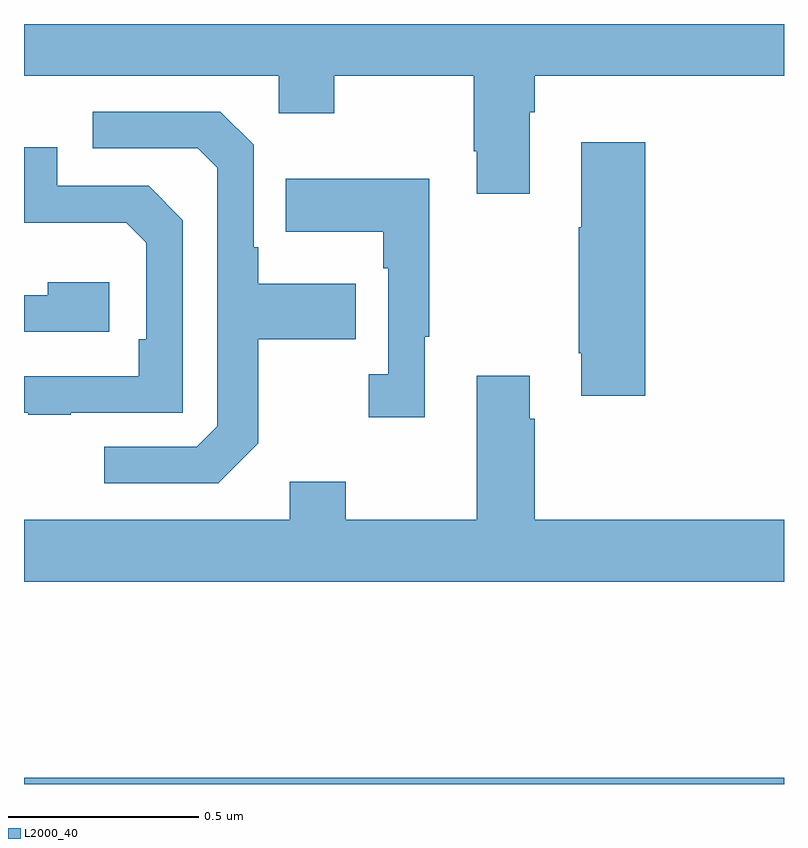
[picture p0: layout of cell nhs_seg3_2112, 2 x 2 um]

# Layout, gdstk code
import gdstk
lib = gdstk.Library(unit=1e-6, precision=1e-09)
def R(c, l, rs):  # rectangles x0, y0, x1, y1
    for r in rs: c.add(gdstk.rectangle(r[:2], r[2:], *l))
def P(c, l, *ps):  # polygons
    for p in ps: c.add(gdstk.Polygon(p, *l))
L2000_40 = (2000, 40)

nhs_seg3_2112 = lib.new_cell('nhs_seg3_2112')
R(nhs_seg3_2112, L2000_40, [(137,684.4,139,684.416)])
P(nhs_seg3_2112, L2000_40, [(137,686.264),(137.67,686.264),(137.67,686.165),(137.817,686.165),(137.817,686.264),(138.184,686.264),(138.184,686.065),(138.191,686.065),(138.191,685.953),(138.331,685.953),(138.331,686.168),(138.344,686.168),(138.344,686.264),(139,686.264),(139,686.4),(137,686.4)],
  [(137.617,685.297),(137.617,685.57),(137.873,685.57),(137.873,685.717),(137.617,685.717),(137.617,685.813),(137.604,685.813),(137.604,686.082),(137.517,686.169),(137.181,686.169),(137.181,686.073),(137.457,686.073),(137.508,686.022),(137.508,685.341),(137.454,685.287),(137.211,685.287),(137.211,685.191),(137.511,685.191)],
  [(138.635,686.089),(138.467,686.089),(138.467,685.865),(138.46,685.865),(138.46,685.534),(138.467,685.534),(138.467,685.422),(138.635,685.422)],
  [(137.123,685.377),(137.418,685.377),(137.418,685.884),(137.328,685.974),(137.088,685.974),(137.088,686.076),(137,686.076),(137,685.877),(137.269,685.877),(137.322,685.824),(137.322,685.57),(137.302,685.57),(137.302,685.473),(137,685.473),(137,685.377),(137.011,685.377),(137.011,685.372),(137.123,685.372)],
  [(138.055,685.577),(138.067,685.577),(138.067,685.993),(137.689,685.993),(137.689,685.853),(137.946,685.853),(137.946,685.757),(137.958,685.757),(137.958,685.478),(137.907,685.478),(137.907,685.365),(138.055,685.365)],
  [(137.224,685.72),(137.063,685.72),(137.063,685.686),(137,685.686),(137,685.59),(137.224,685.59)],
  [(139,685.096),(138.344,685.096),(138.344,685.361),(138.331,685.361),(138.331,685.474),(138.191,685.474),(138.191,685.096),(137.847,685.096),(137.847,685.195),(137.699,685.195),(137.699,685.096),(137,685.096),(137,684.932),(139,684.932)])

lib.write_gds('nhs_seg3_2112.gds')
